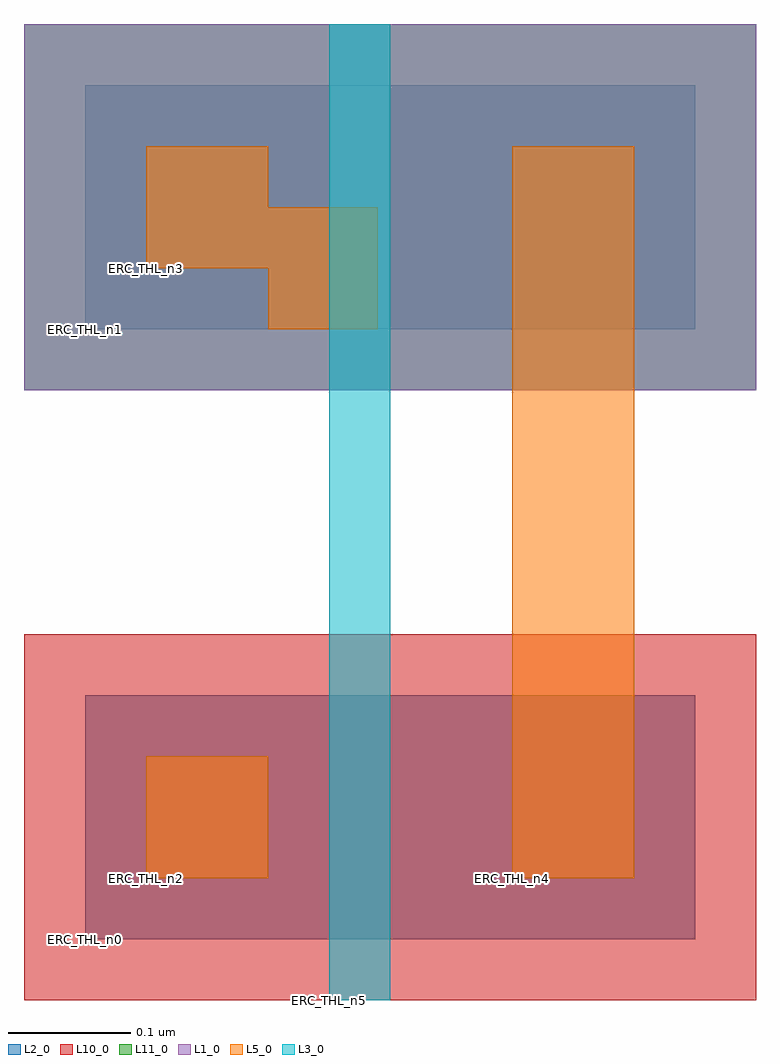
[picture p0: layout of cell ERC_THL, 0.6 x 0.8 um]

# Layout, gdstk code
import gdstk
lib = gdstk.Library(unit=1e-6, precision=1e-09)
def R(c, l, rs):  # rectangles x0, y0, x1, y1
    for r in rs: c.add(gdstk.rectangle(r[:2], r[2:], *l))
L1_0 = (1, 0)
L2_0 = (2, 0)
L3_0 = (3, 0)
L5_0 = (5, 0)
L10_0 = (10, 0)
L11_0 = (11, 0)

erc_thl = lib.new_cell('ERC_THL')
R(erc_thl, L1_0, [(-0.05,0.45,0.55,0.75)])
R(erc_thl, L2_0, [(0,0,0.5,0.2), (0,0.5,0.5,0.7)])
R(erc_thl, L3_0, [(0.2,-0.05,0.25,0.75)])
R(erc_thl, L5_0, [(0.05,0.05,0.15,0.15), (0.35,0.05,0.45,0.65), (0.15,0.5,0.24,0.6), (0.05,0.55,0.15,0.65)])
R(erc_thl, L10_0, [(-0.05,-0.05,0.55,0.25)])
R(erc_thl, L11_0, [(-0.05,0.45,0.55,0.75)])
erc_thl.add(gdstk.Label('ERC_THL_n0', (0,0), layer=2, texttype=5))
erc_thl.add(gdstk.Label('ERC_THL_n1', (0,0.5), layer=2, texttype=5))
erc_thl.add(gdstk.Label('ERC_THL_n2', (0.05,0.05), layer=5, texttype=5))
erc_thl.add(gdstk.Label('ERC_THL_n3', (0.05,0.55), layer=5, texttype=5))
erc_thl.add(gdstk.Label('ERC_THL_n4', (0.35,0.05), layer=5, texttype=5))
erc_thl.add(gdstk.Label('ERC_THL_n5', (0.2,-0.05), layer=3, texttype=5))

lib.write_gds('ERC_THL.gds')
